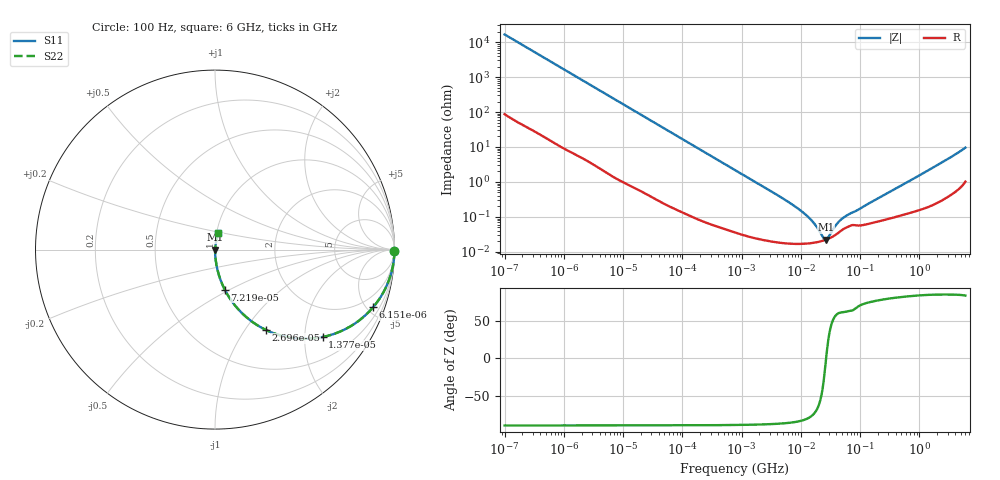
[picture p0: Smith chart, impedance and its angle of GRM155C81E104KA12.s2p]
!Murata Part Number: GRM155C81E104KA12
!These Parameters are Measured in Series Mode Connection
!Data Generated on Mar 30, 2021
!  o--ll--o
!Port1  Port2
!  o------o
!Operation Temp=25[degC], DC Bias Voltage=0[V]
!Freq. Start=100[Hz] Stop=6[GHz] 401[Steps]
# Hz S RI R 50
!Freq.(Hz) S11(Real) S11(Imag) S21(Real) S21(Imag) S12(Real) S12(Imag) S22(Real) S22(Imag)
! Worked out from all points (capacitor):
!   401 points, 100 Hz to 6 GHz, reference 50 ohm
!   read as one part in series: C = 95.7 nF near 109 Hz
!   lowest |Z| = 22.3 mohm at 26.62 MHz (marker M1)
!   series resonance near 26.74 MHz, so ESL is about 370 pH
!   S11 on the Smith chart (normalised r, x): 100 Hz: open; 6.151 kHz: 1.03, -5.48; 13.77 kHz: 1.01, -2.45; 26.96 kHz: 1.01, -1.26; 72.19 kHz: 1.00, -0.47; 6 GHz: 1.02, +0.19
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100  0.9999 -0.00602  6.79e-05 0.00602  6.79e-05 0.00602  0.9999 -0.00602
627  0.9984 -0.0375  0.00161 0.0375  0.00161 0.0375  0.9984 -0.0375
2008  0.9852 -0.1179  0.0148 0.1179  0.0148 0.1179  0.9852 -0.1179
6151  0.8809 -0.3211  0.1191 0.3211  0.1191 0.3211  0.8809 -0.3211
9204  0.7691 -0.4185  0.2309 0.4185  0.2309 0.4185  0.7691 -0.4185
13772  0.5999 -0.4869  0.4001 0.4869  0.4001 0.4869  0.5999 -0.4869
26957  0.2842 -0.4477  0.7158 0.4477  0.7158 0.4477  0.2842 -0.4477
40335  0.1519 -0.3556  0.8481 0.3556  0.8481 0.3556  0.1519 -0.3556
72189  0.054 -0.2223  0.946 0.2223  0.946 0.2223  0.054 -0.2223
193316  0.00853 -0.0875  0.9915 0.0875  0.9915 0.0875  0.00853 -0.0875
774597  0.000849 -0.0222  0.9992 0.0222  0.9992 0.0222  0.000849 -0.0222
6644369  0.000177 -0.00246  0.9998 0.00246  0.9998 0.00246  0.000177 -0.00246
1.087309e7  0.000172 -0.00134  0.9998 0.00134  0.9998 0.00134  0.000172 -0.00134
1.555665e7  0.00018 -0.000738  0.9998 0.000738  0.9998 0.000738  0.00018 -0.000738
2.327686e7  0.000207 -0.00018  0.9998 0.00018  0.9998 0.00018  0.000207 -0.00018
2.662322e7  0.000223 -5.7e-06  0.9998 5.7e-06  0.9998 5.7e-06  0.000223 -5.7e-06
2.911731e7  0.000237 0.000109  0.9998 -0.000109  0.9998 -0.000109  0.000237 0.000109
4.165952e7  0.000336 0.000572  0.9997 -0.000572  0.9997 -0.000572  0.000336 0.000572
5.211241e7  0.000448 0.000834  0.9996 -0.000834  0.9996 -0.000834  0.000448 0.000834
3.124326e8  0.000914 0.00505  0.9991 -0.00505  0.9991 -0.00505  0.000914 0.00505
1.95892e9  0.00331 0.0293  0.9967 -0.0293  0.9967 -0.0293  0.00331 0.0293
6e9  0.0189 0.0927  0.9811 -0.0927  0.9811 -0.0927  0.0189 0.0927
